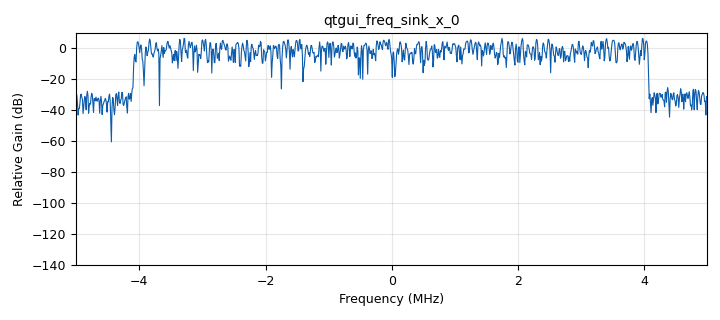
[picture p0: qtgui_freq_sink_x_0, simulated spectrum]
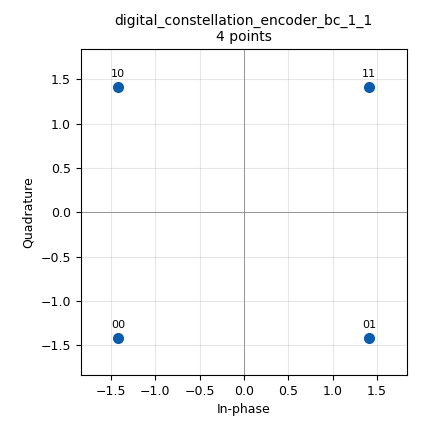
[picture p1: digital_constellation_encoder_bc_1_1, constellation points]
options:
  parameters:
    author: josh
    catch_exceptions: 'False'
    generate_options: qt_gui
    id: gen_ofdm
    output_language: python
    run_options: run
    title: Not titled yet
  states: {}

blocks:
- name: const
  id: variable_constellation
  parameters:
    precision: '8'
    type: qpsk
  states: {}
- name: cp_len
  id: variable
  parameters:
    value: int(fft_len/4)
  states: {}
- name: fft_len
  id: variable
  parameters:
    value: '1024'
  states: {}
- name: noise_level
  id: variable_qtgui_range
  parameters:
    label: noise_level
    start: '0.0'
    step: '0.01'
    stop: '100.0'
    value: '1.0'
  states: {}
- name: nsyms
  id: variable
  parameters:
    value: '10000'
  states: {}
- name: samp_rate
  id: variable
  parameters:
    value: '10000000'
  states: {}
- name: analog_fastnoise_source_x_0
  id: analog_fastnoise_source_x
  parameters:
    amp: noise_level
    noise_type: analog.GR_GAUSSIAN
    samples: '8192'
    seed: '0'
    type: complex
  states: {}
- name: analog_random_source_x_0_1
  id: analog_random_source_x
  parameters:
    max: '4'
    min: '0'
    num_samps: '100000'
    repeat: 'True'
    type: byte
  states: {}
- name: blocks_add_xx_0
  id: blocks_add_xx
  parameters:
    type: complex
  states: {}
- name: blocks_char_to_float_0
  id: blocks_char_to_float
  parameters:
    scale: '1'
  states: {}
- name: blocks_char_to_float_0_0_0
  id: blocks_char_to_float
  parameters:
    scale: '1'
  states: {state: disabled}
- name: blocks_char_to_float_0_0_0_0
  id: blocks_char_to_float
  parameters:
    scale: '1'
  states: {state: disabled}
- name: blocks_char_to_float_0_0_1
  id: blocks_char_to_float
  parameters:
    scale: '1'
  states: {}
- name: blocks_complex_to_mag_0
  id: blocks_complex_to_mag
  parameters: {}
  states: {state: disabled}
- name: blocks_delay_0
  id: blocks_delay
  parameters:
    delay: fft_len
    type: complex
  states: {}
- name: blocks_delay_1
  id: blocks_delay
  parameters:
    delay: '2'
    type: complex
  states: {}
- name: blocks_moving_average_xx_0
  id: blocks_moving_average_xx
  parameters:
    length: cp_len
    max_iter: '4000'
    scale: 1/100000
    type: complex
  states: {state: disabled}
- name: blocks_multiply_conjugate_cc_0
  id: blocks_multiply_conjugate_cc
  parameters: {}
  states: {state: disabled}
- name: blocks_peak_detector2_fb_0
  id: blocks_peak_detector2_fb
  parameters:
    alpha: '0.0000001'
    look_ahead: '1000'
    threshold_factor_rise: '3'
  states: {}
- name: blocks_stream_to_vector_1
  id: blocks_stream_to_vector
  parameters:
    num_items: fft_len+cp_len
    type: complex
  states: {}
- name: blocks_stream_to_vector_2
  id: blocks_stream_to_vector
  parameters:
    num_items: '824'
    type: complex
  states: {}
- name: blocks_unpack_k_bits_bb_0
  id: blocks_unpack_k_bits_bb
  parameters:
    k: '2'
  states: {state: disabled}
- name: blocks_vector_to_stream_0
  id: blocks_vector_to_stream
  parameters:
    type: byte
  states: {}
- name: blocks_vector_to_stream_0_0
  id: blocks_vector_to_stream
  parameters:
    num_items: '824'
    type: complex
  states: {}
- name: digital_constellation_decoder_cb_0
  id: digital_constellation_decoder_cb
  parameters:
    constellation: const
  states: {state: disabled}
- name: digital_constellation_encoder_bc_1_1
  id: digital_constellation_encoder_bc
  parameters:
    constellation: const
  states: {}
- name: digital_ofdm_cyclic_prefixer_0
  id: digital_ofdm_cyclic_prefixer
  parameters:
    cp_len: cp_len
    input_size: fft_len
    tagname: ''
  states: {}
- name: epy_block_0
  id: epy_block
  parameters:
    _source_code: |
      """
      Embedded Python Blocks:

      Each time this file is saved, GRC will instantiate the first class it finds
      to get ports and parameters of your block. The arguments to __init__  will
      be the parameters. All of them are required to have default values!
      """

      import numpy as np
      from gnuradio import gr


      class blk(gr.basic_block):  # other base classes are basic_block, decim_block, interp_block
          """Embedded Python Block example - a simple multiply const"""

          def __init__(self, num_samples=1280):  # only default arguments here
              """arguments to this function show up as parameters in GRC"""
              gr.basic_block.__init__(
                  self,
                  name='Embedded Python Block',   # will show up in GRC
                  in_sig=[np.complex64, np.int8],
                  out_sig=[np.complex64]
              )
              self.set_output_multiple(num_samples)
              # if an attribute with the same name as a parameter is found,
              # a callback is registered (properties work, too).
              self.num_samples = num_samples


          def general_work(self, input_items, output_items):
              """example: multiply with constant"""
              #print("work")
       
              nout = 0       
              nconsume = 0
              nin = min(len(output_items[0]), len(input_items[0]),len(input_items[0]))
              max_nout = len(output_items[0]) / self.num_samples
              #print(f"nin={nin}, max_nout={max_nout}")
              for ii in range (nin-self.num_samples):
                  if input_items[1][ii]:
                      #print("a")
                      output_items[0][nout*self.num_samples:(nout+1)*self.num_samples] = input_items[0][ii:ii+self.num_samples]
                      #output_items[0][nout*self.num_samples:(nout+1)*self.num_samples] = np.ones(self.num_samples,dtype=np.complex64)
                      nout += 1
                      if nout >= max_nout:
                         break
                  #print("b")
                  nconsume += 1
              
              self.consume_each(nconsume)
              #print(f"nout={nout}, nconsume={nconsume}")
              return nout*self.num_samples
    comment: |-
      Output symbols based 
      on detected boundaries
      -- rather crude method
    num_samples: fft_len + cp_len
  states: {state: disabled}
- name: epy_block_1
  id: epy_block
  parameters:
    _source_code: |
      """
      Embedded Python Blocks:

      Each time this file is saved, GRC will instantiate the first class it finds
      to get ports and parameters of your block. The arguments to __init__  will
      be the parameters. All of them are required to have default values!
      """

      import numpy as np
      from gnuradio import gr


      class blk(gr.sync_block):  # other base classes are basic_block, decim_block, interp_block
          """Embedded Python Block example - a simple multiply const"""

          def __init__(self, fft_len=1024, nsyms=824, pilot_spacing=100):  # only default arguments here
              """arguments to this function show up as parameters in GRC"""
              gr.sync_block.__init__(
                  self,
                  name='Embedded Python Block',   # will show up in GRC
                  in_sig=[(np.complex64, nsyms)],
                  out_sig=[(np.complex64, fft_len)]
              )
              self.fft_len = fft_len
              self.nsyms = nsyms
              self.pilot_spacing=pilot_spacing
              self.sym = np.zeros(self.fft_len, dtype=np.complex64)
              
              self.total_syms = nsyms + 1 + nsyms // pilot_spacing
              #print(f'total_syms: {self.total_syms}')
              self.pad_l = (self.fft_len - self.total_syms) // 2
              self.pad_r = self.fft_len - self.pad_l - self.total_syms

          def work(self, input_items, output_items):
              #print(f"work: {len(input_items[0])}, {len(output_items[0])}")
              #print(f"input_items[0].shape = {input_items[0].shape}")
              for ii in range(len(input_items[0])):
                  #print(f"loop: {ii}: {self.fft_len}")
                  
                  #print(f"pad_l: {self.pad_l}, pad_r: {self.pad_r}, {self.fft_len-self.pad_r}, {self.pilot_spacing}")
                  self.sym[self.pad_l:(self.fft_len-self.pad_r):self.pilot_spacing] = 2+2j
                  idx = self.pad_l+1
                  jj = 0
                  while True:
                      n = min(self.pilot_spacing-1, self.nsyms-jj)
                      #print(f"n: {n}, idx:{idx}, jj:{jj}, nsyms:{self.nsyms}, ii:{ii}")
                      if n:
                          #print(len(range(idx,idx+n)))
                          #print(len(range((ii*self.nsyms+jj),(ii*self.nsyms+jj+n))))
                          self.sym[idx:idx+n] = input_items[0][ii,jj:(jj+n)]
                      
                      idx += n+1 # skip over the next pilot
                      jj += n
                      
                      if jj >= self.nsyms:
                        break
                  
                  output_items[0][ii,:] = self.sym

              return len(output_items[0])
    comment: |-
      Custom OFDM Symbol Generator

      Adds pilot tones every pilot_spacing
      carriers - every symbol
    fft_len: '1024'
    nsyms: '824'
    pilot_spacing: '100'
  states: {}
- name: fft_vxx_0
  id: fft_vxx
  parameters:
    fft_size: fft_len
    forward: 'False'
    shift: 'True'
    type: complex
    window: ()
  states: {}
- name: import_0
  id: import
  parameters:
    imports: import math
  states: {}
- name: note_0
  id: note
  parameters:
    comment: Schmidl-Cox Symbol Recovery
  states: {}
- name: ofdm_symbol_rx
  id: epy_block
  parameters:
    _source_code: "\"\"\"\nEmbedded Python Blocks:\n\nEach time this file is saved, GRC will instantiate the first class it finds\nto get ports and parameters of your block. The arguments to __init__  will\nbe the parameters. All of them are required to have default values!\n\"\"\"\n\nimport numpy as np\nfrom gnuradio import gr\n\n\nclass blk(gr.sync_block):  # other base classes are basic_block, decim_block, interp_block\n    \"\"\"Embedded Python Block example - a simple multiply const\"\"\"\n\n    def __init__(self, fft_len=1024, cp_len=256, nsyms=824, pilot_spacing=100):  # only default arguments here\n        \"\"\"arguments to this function show up as parameters in GRC\"\"\"\n        gr.sync_block.__init__(\n            self,\n            name='Embedded Python Block',   # will show up in GRC\n            in_sig=[(np.complex64, fft_len+cp_len)],\n            out_sig=[(np.complex64, nsyms)]\n        )\n        \n        #self.set_output_multiple(nsyms-len(range(0,nsyms,pilot_spacing)))\n        self.fft_len = fft_len\n        self.cp_len = cp_len\n        self.pilot_spacing = pilot_spacing\n        \n        self.nsyms = nsyms\n        self.total_syms = nsyms + 1 + nsyms // pilot_spacing\n        self.pad_l = (self.fft_len - self.total_syms) // 2\n        self.pad_r = self.fft_len - self.pad_l - self.total_syms\n\n\n    def work(self, input_items, output_items):\n        \"\"\"example: multiply with constant\"\"\"\n        #print(\"work\")\n        \n        in_len = self.fft_len + self.cp_len\n        for ii in range(len(input_items[0])):\n            # Do the FFT\n            #X = np.fft.fft(input_items[0][ii,(self.cp_len//2):(self.fft_len + self.cp_len//2)])\n            offset = self.cp_len // 2\n            X = np.fft.fft(input_items[0][ii,self.cp_len-offset:(self.fft_len + self.cp_len - offset)])\n            X = np.fft.fftshift(X)\n            \n            t = np.arange(0, self.fft_len)\n            X = X * np.exp(1j * t * offset * (2*np.pi/self.fft_len))\n            \n            # estimate the timing offset\n            pilots_idx = list(range(self.pad_l,(self.fft_len-self.pad_r),self.pilot_spacing))\n            pilots = X[pilots_idx]\n            #print(pilots_idx)\n            #print(pilots)\n            #u = np.unwrap(np.angle(pilots))\n            u = np.angle(pilots)\n            #print(u)\n            phase_diffs = u[1:] - u[:-1]\n            \n            phase_diffs = np.where(phase_diffs > np.pi, phase_diffs - 2*np.pi, phase_diffs)\n            phase_diffs = np.where(phase_diffs < -np.pi, phase_diffs + 2*np.pi, phase_diffs)\n            \n            #print(phase_diffs)\n            mn = np.mean(phase_diffs)\n\n            #print(mn)\n            \n            # apply the phase ramp across frequency\n            \n            X = X * np.exp(-1j * t * mn / self.pilot_spacing)\n            #X = X * np.exp(-1j * t * self.phase_rot)\n\n            # remove cyclic prefix and pilots\n            idx = 0\n            jj = self.pad_l+1\n            while idx < self.nsyms:\n                n = min(self.pilot_spacing - 1, self.nsyms - idx)\n                output_items[0][ii,idx:idx+n] = X[jj:jj+n]\n                idx += n\n                jj += n+1\n            \n            \n        return len(output_items[0])\n \n\n"
    comment: |-
      Do the FFT
      Estimate the timing offset
      Correct the timing offset
      Remove CP and pilots
    cp_len: cp_len
    fft_len: fft_len
    nsyms: '824'
    pilot_spacing: '100'
  states: {state: disabled}
- name: qtgui_const_sink_x_0
  id: qtgui_const_sink_x
  parameters:
    autoscale: 'True'
    gui_hint: 1,1,1,1
    size: '824'
    type: complex
  states: {}
- name: qtgui_freq_sink_x_0
  id: qtgui_freq_sink_x
  parameters:
    bw: samp_rate
    fc: '0'
    fftsize: '1024'
    gui_hint: 1,0,1,1
    type: complex
  states: {}
- name: qtgui_time_sink_x_0_0
  id: qtgui_time_sink_x
  parameters:
    autoscale: 'True'
    gui_hint: 2,0,1,1
    nconnections: '2'
    size: '102400'
    srate: samp_rate
    type: float
  states: {}
- name: qtgui_time_sink_x_0_0_0
  id: qtgui_time_sink_x
  parameters:
    autoscale: 'True'
    gui_hint: 2,1,1,1
    name: Bits
    size: '824'
    srate: samp_rate
    type: float
  states: {}
- name: qtgui_time_sink_x_0_0_0_0
  id: qtgui_time_sink_x
  parameters:
    autoscale: 'True'
    name: Bits
    nconnections: '2'
    size: '824'
    srate: samp_rate
    type: float
  states: {state: disabled}
- name: torchdsp_triton_complex_to_mag_0
  id: torchdsp_triton_complex_to_mag
  parameters:
    device: gpu
    items_per_batch: '1024'
    max_batch_size: '256'
    model_directory: /tmp/rendered_triton_models
    triton_url: localhost:8000
    vlen: '1'
  states: {}
- name: torchdsp_triton_moving_average_cc_0
  id: torchdsp_triton_moving_average_cc
  parameters:
    device: cpu
    items_per_batch: '1024'
    length: '256'
    max_batch_size: '256'
    model_directory: /tmp/rendered_triton_models
    scale: 1.0/256
    triton_url: localhost:8000
  states: {}
- name: torchdsp_triton_multiply_conj_cc_0
  id: torchdsp_triton_multiply_conj_cc
  parameters:
    device: cpu
    items_per_batch: '1024'
    max_batch_size: '256'
    model_directory: /tmp/rendered_triton_models
    triton_url: localhost:8000
  states: {}
- name: torchdsp_triton_ofdm_symbol_recovery_0
  id: torchdsp_triton_ofdm_symbol_recovery
  parameters:
    cplen: '256'
    device: gpu
    fft_size: '1024'
    max_batch_size: '256'
    nsyms: '824'
    pilot_spacing: '100'
    triton_url: localhost:8000
  states: {}
- name: torchdsp_triton_qpsk_decoder_cb_0
  id: torchdsp_triton_qpsk_decoder_cb
  parameters:
    device: cpu
    items_per_batch: '1024'
    max_batch_size: '256'
    model_directory: /tmp/rendered_triton_models
    triton_url: localhost:8000
  states: {}
- name: torchdsp_triton_unpack_k_bits_0
  id: torchdsp_triton_unpack_k_bits
  parameters:
    device: cpu
    items_per_batch: '1024'
    max_batch_size: '256'
    model_directory: /tmp/rendered_triton_models
    num_bits: '2'
    triton_url: localhost:8000
  states: {}
- name: tx_out
  id: virtual_sink
  parameters:
    stream_id: tx_out
  states: {}
- name: virtual_source_0
  id: virtual_source
  parameters:
    stream_id: tx_out
  states: {}

connections:
- [analog_fastnoise_source_x_0, '0', blocks_add_xx_0, '0']
- [analog_random_source_x_0_1, '0', digital_constellation_encoder_bc_1_1, '0']
- [blocks_add_xx_0, '0', qtgui_freq_sink_x_0, '0']
- [blocks_add_xx_0, '0', tx_out, '0']
- [blocks_char_to_float_0, '0', qtgui_time_sink_x_0_0, '1']
- [blocks_char_to_float_0_0_0, '0', qtgui_time_sink_x_0_0_0_0, '0']
- [blocks_char_to_float_0_0_0_0, '0', qtgui_time_sink_x_0_0_0_0, '1']
- [blocks_char_to_float_0_0_1, '0', qtgui_time_sink_x_0_0_0, '0']
- [blocks_complex_to_mag_0, '0', blocks_peak_detector2_fb_0, '0']
- [blocks_complex_to_mag_0, '0', qtgui_time_sink_x_0_0, '0']
- [blocks_delay_0, '0', blocks_multiply_conjugate_cc_0, '1']
- [blocks_delay_0, '0', torchdsp_triton_multiply_conj_cc_0, '1']
- [blocks_delay_1, '0', blocks_stream_to_vector_1, '0']
- [blocks_moving_average_xx_0, '0', blocks_complex_to_mag_0, '0']
- [blocks_moving_average_xx_0, '0', torchdsp_triton_complex_to_mag_0, '0']
- [blocks_multiply_conjugate_cc_0, '0', blocks_moving_average_xx_0, '0']
- [blocks_multiply_conjugate_cc_0, '0', torchdsp_triton_moving_average_cc_0, '0']
- [blocks_peak_detector2_fb_0, '0', blocks_char_to_float_0, '0']
- [blocks_peak_detector2_fb_0, '0', epy_block_0, '1']
- [blocks_stream_to_vector_1, '0', ofdm_symbol_rx, '0']
- [blocks_stream_to_vector_1, '0', torchdsp_triton_ofdm_symbol_recovery_0, '0']
- [blocks_stream_to_vector_2, '0', epy_block_1, '0']
- [blocks_unpack_k_bits_bb_0, '0', blocks_char_to_float_0_0_1, '0']
- [blocks_vector_to_stream_0, '0', blocks_char_to_float_0_0_1, '0']
- [blocks_vector_to_stream_0_0, '0', digital_constellation_decoder_cb_0, '0']
- [blocks_vector_to_stream_0_0, '0', qtgui_const_sink_x_0, '0']
- [blocks_vector_to_stream_0_0, '0', torchdsp_triton_qpsk_decoder_cb_0, '0']
- [digital_constellation_decoder_cb_0, '0', blocks_char_to_float_0_0_0, '0']
- [digital_constellation_decoder_cb_0, '0', blocks_unpack_k_bits_bb_0, '0']
- [digital_constellation_decoder_cb_0, '0', torchdsp_triton_unpack_k_bits_0, '0']
- [digital_constellation_encoder_bc_1_1, '0', blocks_stream_to_vector_2, '0']
- [digital_ofdm_cyclic_prefixer_0, '0', blocks_add_xx_0, '1']
- [epy_block_0, '0', blocks_stream_to_vector_1, '0']
- [epy_block_1, '0', fft_vxx_0, '0']
- [fft_vxx_0, '0', digital_ofdm_cyclic_prefixer_0, '0']
- [ofdm_symbol_rx, '0', blocks_vector_to_stream_0_0, '0']
- [torchdsp_triton_complex_to_mag_0, '0', blocks_peak_detector2_fb_0, '0']
- [torchdsp_triton_complex_to_mag_0, '0', qtgui_time_sink_x_0_0, '0']
- [torchdsp_triton_moving_average_cc_0, '0', torchdsp_triton_complex_to_mag_0, '0']
- [torchdsp_triton_multiply_conj_cc_0, '0', blocks_moving_average_xx_0, '0']
- [torchdsp_triton_multiply_conj_cc_0, '0', torchdsp_triton_moving_average_cc_0, '0']
- [torchdsp_triton_ofdm_symbol_recovery_0, '0', blocks_vector_to_stream_0_0, '0']
- [torchdsp_triton_qpsk_decoder_cb_0, '0', torchdsp_triton_unpack_k_bits_0, '0']
- [torchdsp_triton_unpack_k_bits_0, '0', blocks_vector_to_stream_0, '0']
- [virtual_source_0, '0', blocks_delay_0, '0']
- [virtual_source_0, '0', blocks_delay_1, '0']
- [virtual_source_0, '0', blocks_multiply_conjugate_cc_0, '0']
- [virtual_source_0, '0', epy_block_0, '0']
- [virtual_source_0, '0', torchdsp_triton_multiply_conj_cc_0, '0']

metadata:
  file_format: 1
  grc_version: v3.11.0.0git-357-g568fe07b
